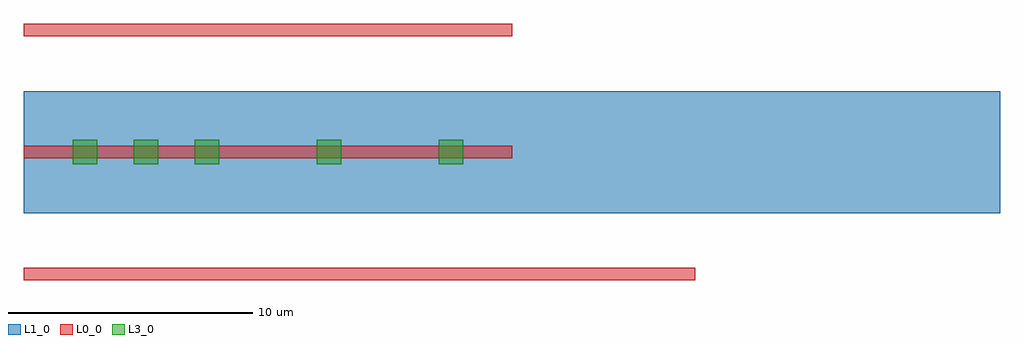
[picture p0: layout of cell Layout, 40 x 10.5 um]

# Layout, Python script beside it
import gdspy

# 1. Draw three rectangular active regions with dimensions 20 µm x 5 µm, 
#    positioned horizontally with 5 µm spacing between them.
def draw_active_regions(cell):
    # Define the active region dimensions
    width = 20
    height = 5
    
    # Create a list to store the active region coordinates
    active_regions = []
    
    # Define the x-coordinates for each active region
    x_coords = [0, 10, 20]
    
    # Draw each active region
    for x in x_coords:
        # Create a rectangle
        rect = gdspy.Rectangle((x, 0), (x + width, height), layer=1)
        
        # Add the rectangle to the cell
        cell.add(rect)
        
        # Store the active region coordinates
        active_regions.append((x, 0))
    
    return cell, active_regions

# 2. Create a complex polysilicon gate pattern consisting of multiple vertical 
#    and horizontal lines, with widths of 0.5 µm, forming a grid-like structure.
def draw_polysilicon_gates(cell, active_regions):
    # Define the gate width
    gate_width = 0.5
    
    # Create a list to store the gate coordinates
    gates = []
    
    # Define the x-coordinates for the vertical gates
    x_coords = [2.5, 7.5, 12.5, 17.5]
    
    # Draw each vertical gate
    for x in x_coords:
        # Create a path
        path = gdspy.Path(gate_width, (x, -2.5))
        path.segment(10)
        
        # Add the path to the cell
        cell.add(path)
        
        # Store the gate coordinates
        gates.append((x, 2.5))
    
    # Define the y-coordinates for the horizontal gates
    y_coords = [-2.5, 2.5, 7.5]
    
    # Draw each horizontal gate
    for y in y_coords:
        # Create a path
        path = gdspy.Path(gate_width, (0, y))
        path.segment(20)
        
        # Add the path to the cell
        cell.add(path)
        
        # Store the gate coordinates
        gates.append((5, y))
    
    return cell, gates

# 3. Add several contact holes (each 1 µm x 1 µm) positioned at the intersections 
#    of the polysilicon gate pattern and the active regions.
def add_contact_holes(cell, gates, active_regions):
    # Define the contact hole dimensions
    contact_size = 1
    
    # Draw each contact hole
    for gate in gates:
        for region in active_regions:
            if (gate[0] >= region[0] and gate[0] <= region[0] + 20) and (gate[1] >= region[1] and gate[1] <= region[1] + 5):
                # Create a rectangle
                rect = gdspy.Rectangle((gate[0] - contact_size / 2, gate[1] - contact_size / 2), (gate[0] + contact_size / 2, gate[1] + contact_size / 2), layer=3)
                
                # Add the rectangle to the cell
                cell.add(rect)
    
    return cell

# Create the GDS layout
gdspy.current_library = gdspy.GdsLibrary()
gdspy.current_cell = gdspy.Cell("Layout")

# Draw the active regions
cell, active_regions = draw_active_regions(gdspy.current_cell)

# Draw the polysilicon gates
cell, gates = draw_polysilicon_gates(cell, active_regions)

# Add the contact holes
cell = add_contact_holes(cell, gates, active_regions)

# Save the design to a GDS file
gdspy.write_gds("layout.gds")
